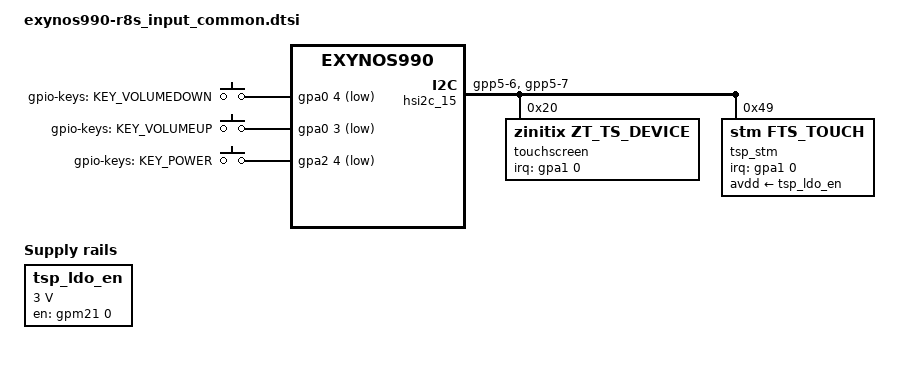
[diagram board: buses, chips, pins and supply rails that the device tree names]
/*
 * SAMSUNG EXYNOS9830 input device tree source
 *
 * Copyright (c) 2019 Samsung Electronics Co., Ltd.
 *		http://www.samsung.com
 *
 * This program is free software; you can redistribute it and/or modify
 * it under the terms of the GNU General Public License version 2 as
 * published by the Free Software Foundation.
*/

/ {

	fragment@model {
		target-path = "/";
		__overlay__ {
			gpio_keys {
				status = "okay";
				compatible = "gpio-keys";
				pinctrl-names = "default";
				pinctrl-0 = <&key_voldown &key_volup &key_power>;

				button@2 {
					label = "gpio-keys: KEY_VOLUMEDOWN";
					linux,code = <114>;
					gpios = <&gpa0 4 0xf>;
				};
				button@3 {
					label = "gpio-keys: KEY_VOLUMEUP";
					linux,code = <115>;
					gpios = <&gpa0 3 0xf>;
				};
				button@4 {
					label = "gpio-keys: KEY_POWER";
					linux,code = <116>;
					gpios = <&gpa2 4 0xf>;
					gpio-key,wakeup = <1>;
				};
			};

			tsp_ldo_en: tsp_ldo_en {
				compatible = "regulator-fixed";
				regulator-name = "tsp_ldo_en";
				regulator-min-microvolt = <3000000>;
				regulator-max-microvolt = <3000000>;
				gpio = <&gpm21 0 0>;
				enable-active-high;
				regulator-boot-on;
			};
		}; /* end of __overlay__ */
	}; /* end of fragment */
}; /* end of root */

&pinctrl_0 {
	key_voldown: key-voldown {
		samsung,pins = "gpa0-4";
		samsung,pin-function = <0xf>;
		samsung,pin-pud = <0>;
		samsung,pin-drv = <0>;
	};

	key_volup: key-volup {
		samsung,pins = "gpa0-3";
		samsung,pin-function = <0xf>;
		samsung,pin-pud = <0>;
		samsung,pin-drv = <0>;
	};

	key_power: key-power {
		samsung,pins = "gpa2-4";
		samsung,pin-function = <0xf>;
		samsung,pin-pud = <0>;
		samsung,pin-drv = <0>;
	};

	attn_irq: attn-irq {
		samsung,pins = "gpa1-0";
		samsung,pin-function = <0xf>;
		samsung,pin-pud = <0>;
		samsung,pin-drv = <0>;
	};

	attn_input: attn-input {
		samsung,pins = "gpa1-0";
		samsung,pin-function = <0>;
		samsung,pin-pud = <1>;
	};
};

&pinctrl_5 {
	tspi2c_bus: tspi2c-bus {
		samsung,pins = "gpp5-6", "gpp5-7";
		samsung,pin-function = <3>;
		samsung,pin-pud = <0>;
		samsung,pin-drv = <0>;
		samsung,pin-con-pdn = <3>;
		samsung,pin-pud-pdn = <0>;
	};
};

&hsi2c_15 {
	#address-cells = <1>;
	#size-cells = <0>;
	pinctrl-names = "default";
	pinctrl-0 = <&tspi2c_bus>;
	status = "okay";
	touchscreen@20 {
		status = "ok";
		compatible = "zinitix,zt_ts_device";
		reg = <0x20>;
		pinctrl-names = "on_state", "off_state";
		pinctrl-0 = <&attn_irq>;
		pinctrl-1 = <&attn_irq>;
		zinitix,gpio_ldo_en;
		zinitix,regulator_avdd = "tsp_ldo_en";
		zinitix,irq_type = <0x2008>;
		zinitix,x_resolution = <1080>;
		zinitix,y_resolution = <2400>;
		zinitix,page_size = <128>;
		zinitix,irq_gpio = <&gpa1 0 0>;

		/* This part is for firmware */
		zinitix,chip_name = "ZT7650";
		zinitix,firmware_name = "tsp_zinitix/zt7650_r8.bin";

		/* feature */
		zinitix,spay;
		zinitix,aod;
		zinitix,aot;
		zinitix,mis_cal_check;
		support_ear_detect_mode;
		support_dex_mode;
		support_open_short_test;

		/* calibration */
		zinitix,tclm_level = <2>;
		zinitix,afe_base = <0x0018>;
		//zinitix,bringup = <1>;
	};

	tsp_stm: touchscreen@49 {
		status = "ok";
		compatible = "stm,fts_touch";
		reg = <0x49>;
		pinctrl-names = "on_state", "off_state";
		pinctrl-0 = <&attn_irq>;
		pinctrl-1 = <&attn_irq>;
		/* dvdd-supply = <&pm6150_l10>; */
		avdd-supply = <&tsp_ldo_en>;
		stm,irq_gpio = <&gpa1 0 0>;
		stm,max_coords = <4095 4095>;
		stm,firmware_name = "tsp_stm/fts5cu56a_r8.bin";
		stm,tclm_level = <2>;
		stm,afe_base = <0x5>;
		stm,bringup = <0>;
		stm,support_fod;
		stm,enable_settings_aot;
		support_ear_detect;
		support_mis_calibration_test;
		support_dex_mode;
		support_open_short_test;
		support_sram_test;
//		support_hall_ic;
//		support_flex_mode;
//		stm,hw_i2c_reset;
	};
};

